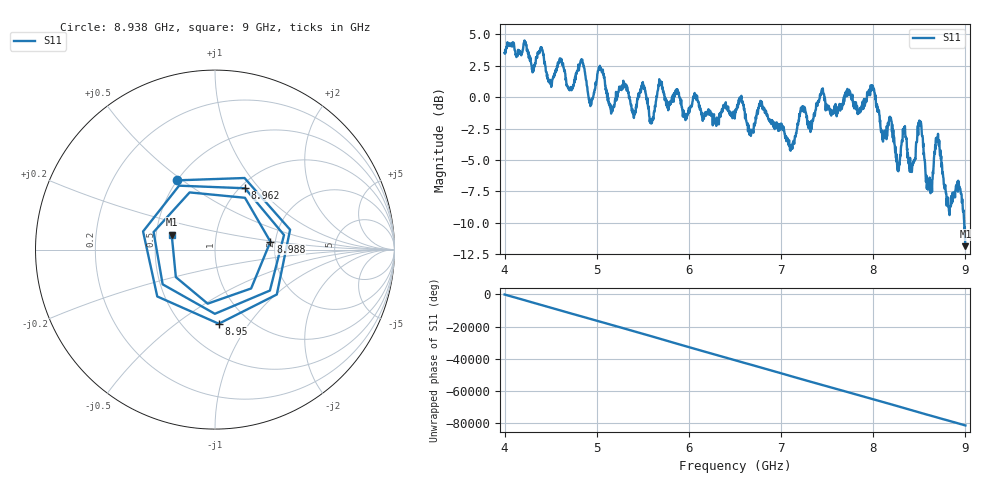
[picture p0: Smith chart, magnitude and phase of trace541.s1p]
! Created with skrf 1.8.0 (http://scikit-rf.org).
# Hz S RI R 50.0
!freq ReS11 ImS11
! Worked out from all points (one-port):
!   1601 points, 4 GHz to 9 GHz, reference 50 ohm
!   lowest |S11| = -11.9 dB at 9 GHz (marker M1), VSWR 1.69, Z = 30.2 + j5.43 ohm
!   |S11| at or under -10 dB: 8.987168 GHz to end of sweep
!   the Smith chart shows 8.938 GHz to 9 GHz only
!   S11 on the Smith chart (normalised r, x): 8.938 GHz: 0.50, +0.48; 8.95 GHz: 0.73, -0.73; 8.962 GHz: 1.06, +0.84; 8.988 GHz: 1.88, +0.18; 9 GHz: 0.60, +0.11
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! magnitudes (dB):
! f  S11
! 4 GHz  3.5
! 4.625 GHz  2.7
! 4.716 GHz  0.8
! 4.841 GHz  3.0
! 4.934 GHz  -0.6
! 5.038 GHz  2.2
! 5.153 GHz  -1.0
! 5.25 GHz  0.6
! 5.509 GHz  0.8
! 5.594 GHz  -1.9
! 5.681 GHz  1.0
! 5.875 GHz  0.6
! 6.5 GHz  -1.4
! 7.125 GHz  -3.8
! 7.234 GHz  -0.9
! 7.75 GHz  0.4
! 7.994 GHz  0.7
! 8.262 GHz  -5.6
! 8.375 GHz  -4.5
! 8.506 GHz  -2.0
! 8.597 GHz  -7.0
! 8.697 GHz  -3.5
! 8.819 GHz  -8.7
! 8.938 GHz  -7.1
! 8.95 GHz  -7.7
! 8.962 GHz  -8.4
! 8.988 GHz  -10.1
! 9 GHz  -11.9
